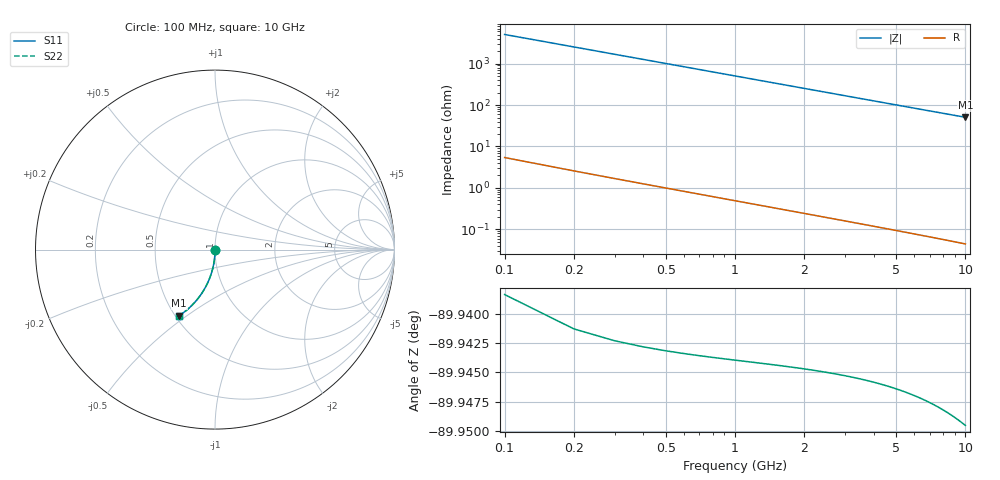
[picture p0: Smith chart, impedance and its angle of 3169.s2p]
# Hz S RI R 50.00
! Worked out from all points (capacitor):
!   100 points, 100 MHz to 10 GHz, reference 50 ohm
!   read as one part in shunt: C = 316 fF near 100 MHz
!   lowest |Z| = 50.7 ohm at 10 GHz (marker M1)
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1e8  0.000188 -0.00465  0.9998 -0.00529  0.9998 -0.00529  0.000188 -0.00465
2e8  0.000111 -0.00929  0.9997 -0.0106  0.9997 -0.0106  0.000111 -0.00929
3e8  -1.59e-05 -0.0139  0.9995 -0.0159  0.9995 -0.0159  -1.59e-05 -0.0139
4e8  -0.000192 -0.0186  0.9994 -0.0211  0.9994 -0.0211  -0.000192 -0.0186
5e8  -0.000417 -0.0232  0.9991 -0.0264  0.9991 -0.0264  -0.000417 -0.0232
6e8  -0.000691 -0.0279  0.9989 -0.0317  0.9989 -0.0317  -0.000691 -0.0279
7e8  -0.00101 -0.0325  0.9985 -0.037  0.9985 -0.037  -0.00101 -0.0325
8e8  -0.00139 -0.0371  0.9982 -0.0422  0.9982 -0.0422  -0.00139 -0.0371
9e8  -0.00181 -0.0417  0.9977 -0.0475  0.9977 -0.0475  -0.00181 -0.0417
1.1e9  -0.00279 -0.051  0.9967 -0.058  0.9967 -0.058  -0.00279 -0.051
1.4e9  -0.00463 -0.0647  0.9949 -0.0737  0.9949 -0.0737  -0.00463 -0.0647
1.8e9  -0.00776 -0.083  0.9917 -0.0945  0.9917 -0.0945  -0.00776 -0.083
2.1e9  -0.0106 -0.0965  0.9889 -0.1099  0.9889 -0.1099  -0.0106 -0.0965
2.5e9  -0.015 -0.1143  0.9844 -0.1303  0.9844 -0.1303  -0.015 -0.1143
2.9e9  -0.0202 -0.1319  0.9792 -0.1505  0.9792 -0.1505  -0.0202 -0.1319
3.4e9  -0.0276 -0.1535  0.9717 -0.1752  0.9717 -0.1752  -0.0276 -0.1535
4.2e9  -0.0416 -0.1867  0.9575 -0.2136  0.9575 -0.2136  -0.0416 -0.1867
5.1e9  -0.0603 -0.2221  0.9387 -0.2548  0.9387 -0.2548  -0.0603 -0.2221
5.9e9  -0.0792 -0.2516  0.9196 -0.2894  0.9196 -0.2894  -0.0792 -0.2516
6.7e9  -0.1 -0.2789  0.8986 -0.3219  0.8986 -0.3219  -0.1 -0.2789
8.4e9  -0.1491 -0.3297  0.8489 -0.3837  0.8489 -0.3837  -0.1491 -0.3297
1e10  -0.1996 -0.3679  0.7978 -0.4324  0.7978 -0.4324  -0.1996 -0.3679
